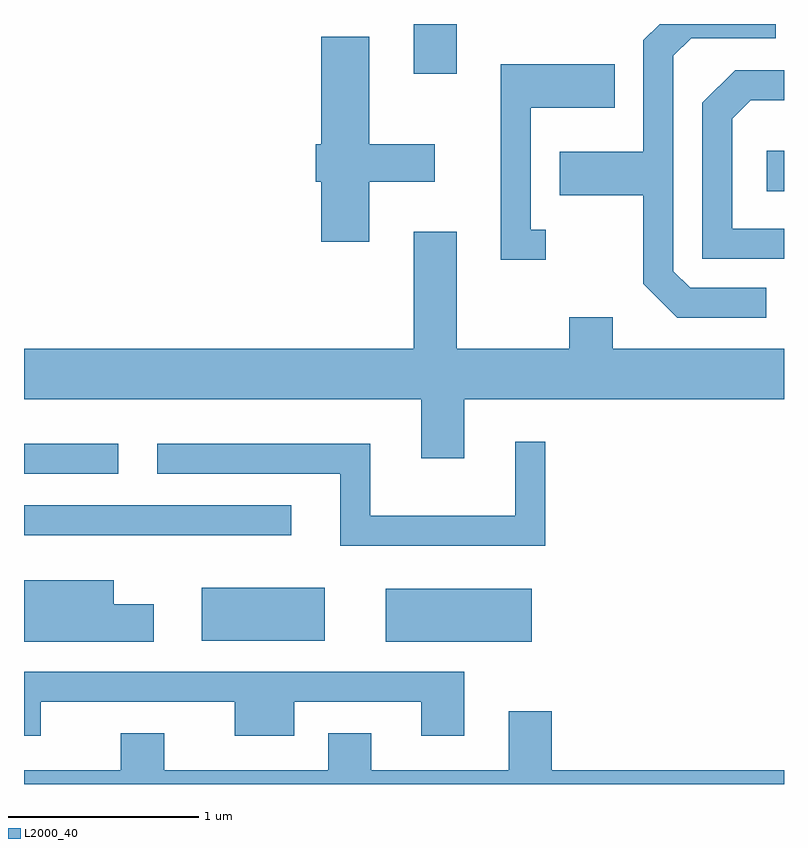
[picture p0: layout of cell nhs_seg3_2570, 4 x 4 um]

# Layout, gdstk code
import gdstk
lib = gdstk.Library(unit=1e-6, precision=1e-09)
def R(c, l, rs):  # rectangles x0, y0, x1, y1
    for r in rs: c.add(gdstk.rectangle(r[:2], r[2:], *l))
def P(c, l, *ps):  # polygons
    for p in ps: c.add(gdstk.Polygon(p, *l))
L2000_40 = (2000, 40)

nhs_seg3_2570 = lib.new_cell('nhs_seg3_2570')
R(nhs_seg3_2570, L2000_40, [(261.516,1224.641,262.284,1224.919), (260.546,1224.646,261.194,1224.924), (259.611,1225.201,261.017,1225.359), (259.611,1225.526,260.108,1225.684), (263.521,1227.011,263.611,1227.224), (261.661,1227.631,261.889,1227.892)])
P(nhs_seg3_2570, L2000_40, [(263.518,1226.504),(263.117,1226.504),(263.029,1226.592),(263.029,1227.724),(263.122,1227.816),(263.568,1227.816),(263.568,1227.892),(262.957,1227.892),(262.871,1227.807),(262.871,1227.219),(262.431,1227.219),(262.431,1226.991),(262.871,1226.991),(262.871,1226.524),(263.049,1226.346),(263.518,1226.346)],
  [(261.429,1227.061),(261.774,1227.061),(261.774,1227.259),(261.429,1227.259),(261.429,1227.824),(261.176,1227.824),(261.176,1227.259),(261.146,1227.259),(261.146,1227.061),(261.176,1227.061),(261.176,1226.746),(261.429,1226.746)],
  [(262.358,1226.809),(262.279,1226.809),(262.279,1227.451),(262.719,1227.451),(262.719,1227.679),(262.121,1227.679),(262.121,1226.651),(262.358,1226.651)],
  [(263.611,1226.814),(263.339,1226.814),(263.339,1227.394),(263.437,1227.491),(263.611,1227.491),(263.611,1227.649),(263.354,1227.649),(263.181,1227.477),(263.181,1226.656),(263.611,1226.656)],
  [(261.929,1225.916),(263.611,1225.916),(263.611,1226.184),(262.709,1226.184),(262.709,1226.349),(262.481,1226.349),(262.481,1226.184),(261.889,1226.184),(261.889,1226.799),(261.661,1226.799),(261.661,1226.184),(259.611,1226.184),(259.611,1225.916),(261.701,1225.916),(261.701,1225.606),(261.929,1225.606)],
  [(262.354,1225.693),(262.196,1225.693),(262.196,1225.304),(261.434,1225.304),(261.434,1225.684),(260.313,1225.684),(260.313,1225.526),(261.276,1225.526),(261.276,1225.146),(262.354,1225.146)],
  [(260.294,1224.839),(260.084,1224.839),(260.084,1224.964),(259.611,1224.964),(259.611,1224.641),(260.294,1224.641)],
  [(259.699,1224.326),(260.721,1224.326),(260.721,1224.146),(261.034,1224.146),(261.034,1224.326),(261.701,1224.326),(261.701,1224.146),(261.929,1224.146),(261.929,1224.484),(259.611,1224.484),(259.611,1224.146),(259.699,1224.146)],
  [(263.611,1223.964),(262.389,1223.964),(262.389,1224.274),(262.161,1224.274),(262.161,1223.964),(261.439,1223.964),(261.439,1224.159),(261.211,1224.159),(261.211,1223.964),(260.349,1223.964),(260.349,1224.159),(260.121,1224.159),(260.121,1223.964),(259.611,1223.964),(259.611,1223.892),(263.611,1223.892)])

lib.write_gds('nhs_seg3_2570.gds')
